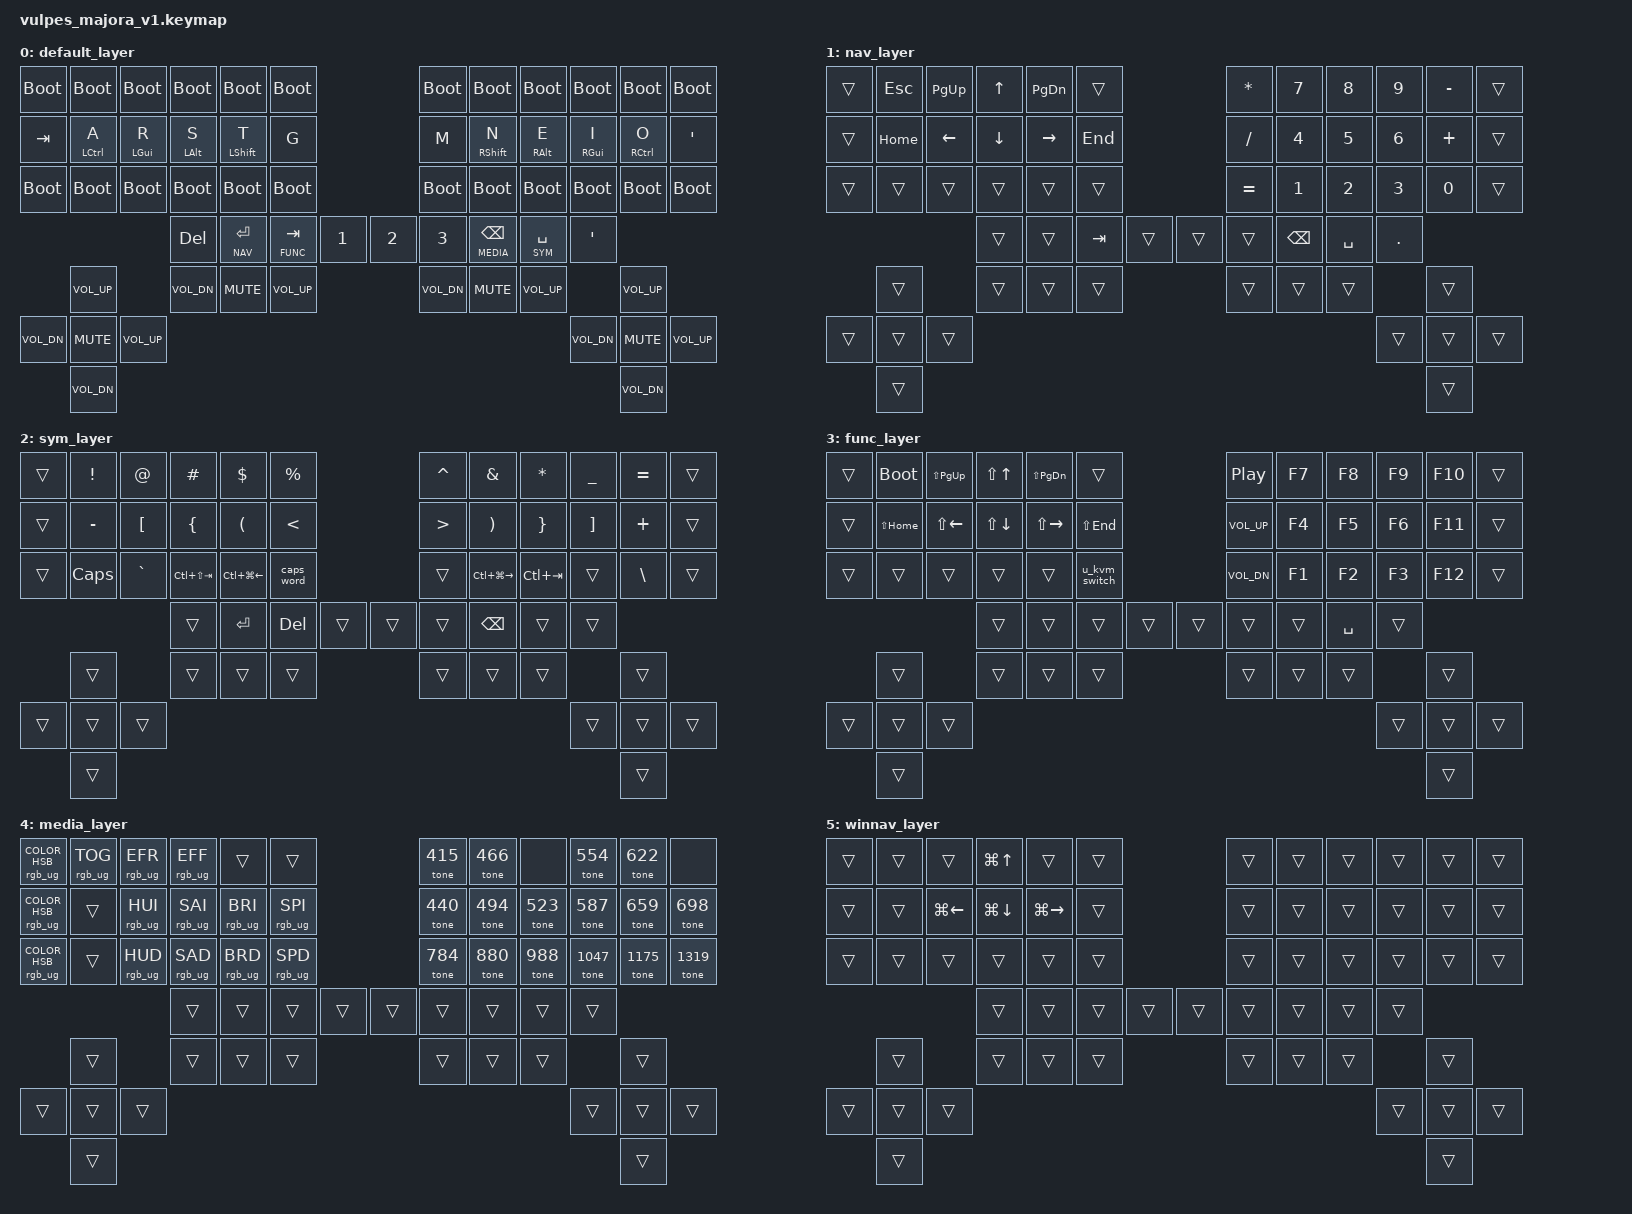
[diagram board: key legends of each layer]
/*
 * Copyright (c) 2020 The ZMK Contributors
 *
 * SPDX-License-Identifier: MIT
 */

#include <behaviors.dtsi>
#include <dt-bindings/zmk/keys.h>
#include <dt-bindings/zmk/rgb.h>
#include <dt-bindings/zmk/outputs.h>
#include <dt-bindings/zmk/rgb.h>
#include <zephyr/dt-bindings/pwm/pwm.h>
// #include <dt-bindings/zmk/mouse.h>
// #include <behaviors/mouse_keys.dtsi>

#define DEFAULT 0
#define NAV     1
#define SYM     2
#define FUNC    3
#define MEDIA   4
#define WINNAV  5

&caps_word {
    continue-list = <UNDERSCORE MINUS>;
};

/ {
    combos {
        compatible = "zmk,combos";
        combo_undo {
            timeout-ms = <50>;
            key-positions = <25 26>;
            bindings = <&kp LC(Z)>;
        };
    };
};

/ {
    macros {
        u_kvm_switch: u_kvm_switch {
            compatible = "zmk,behavior-macro";
            #binding-cells = <0>;
            bindings
                = <&macro_press &kp TAB>
                , <&macro_wait_time 200>
                , <&macro_tap &kp RIGHT>
                , <&macro_wait_time 200>
                , <&macro_release &kp TAB>
                ;
        };
    };
};

/ {
    behaviors {
        hm: homerow_mods {
            compatible = "zmk,behavior-hold-tap";
            #binding-cells = <2>;
            tapping-term-ms = <200>;
            flavor = "tap-preferred";
            bindings = <&kp>, <&kp>;
        };
        hs: homerow_shift {
            compatible = "zmk,behavior-hold-tap";
            #binding-cells = <2>;
            tapping-term-ms = <175>;
            flavor = "balanced";
            bindings = <&kp>, <&kp>;
        };
        // for audio buzzer
        tone: tone {
            compatible = "chiptuner,behavior-tone";
            #binding-cells = <1>;
            pwms = <&pwm 2 PWM_USEC(20) PWM_POLARITY_NORMAL>;
        };
    };

    keymap {
        compatible = "zmk,keymap";

        default_layer {
            // TODO - Replace middle keys with mouse keys when pmw3360 is supported, see vik_pmw3360_per56 shield in zmk-fingerpunch-vik repository
            bindings = <
    &bootloader       &bootloader        &bootloader        &bootloader       &bootloader        &bootloader                                                       &bootloader       &bootloader        &bootloader        &bootloader       &bootloader        &bootloader
    &kp TAB       &hm LCTL A   &hm LGUI R   &hm LALT S    &hs LSHIFT T   &kp G                                                       &kp M           &hs RSHIFT N   &hm RALT E    &hm RGUI I    &hm RCTL O  &kp SQT
    &bootloader       &bootloader        &bootloader        &bootloader       &bootloader        &bootloader                                                       &bootloader       &bootloader        &bootloader        &bootloader       &bootloader        &bootloader
                                            &kp DEL       &lt NAV RET    &lt FUNC TAB      &kp N1       &kp N2        &kp N3         &lt MEDIA BSPC  &lt SYM SPACE  &kp SQT
                  &kp C_VOL_UP              &kp C_VOL_DN  &kp C_MUTE     &kp C_VOL_UP                                                &kp C_VOL_DN    &kp C_MUTE     &kp C_VOL_UP                &kp C_VOL_UP
    &kp C_VOL_DN  &kp C_MUTE   &kp C_VOL_UP                                                                                                                                       &kp C_VOL_DN  &kp C_MUTE   &kp C_VOL_UP
                  &kp C_VOL_DN                                                                                                                                                                  &kp C_VOL_DN
            >;
        };

        nav_layer {
            bindings = <
    &trans     &kp ESC      &kp PG_UP    &kp UP      &kp PG_DN     &trans                                      &kp ASTRK     &kp N7       &kp N8        &kp N9      &kp MINUS   &trans
    &trans     &kp HOME     &kp LEFT     &kp DOWN    &kp RIGHT     &kp END                                     &kp FSLH      &kp N4       &kp N5        &kp N6      &kp PLUS    &trans
    &trans     &trans       &trans       &trans      &trans        &trans                                      &kp EQUAL     &kp N1       &kp N2        &kp N3      &kp N0      &trans
                                         &trans      &trans        &kp TAB    &trans     &trans    &trans      &kp BSPC      &kp SPACE    &kp DOT
               &trans                    &trans      &trans        &trans                                      &trans        &trans       &trans                    &trans
    &trans     &trans       &trans                                                                                                                      &trans      &trans      &trans
               &trans                                                                                                                                               &trans
            >;
        };

        sym_layer {
            bindings = <
    &trans     &kp EXCL     &kp AT       &kp HASH        &kp DLLR         &kp PRCNT                                   &kp CARET     &kp AMPS          &kp ASTRK     &kp UNDER   &kp EQUAL   &trans
    &trans     &kp MINUS    &kp LBKT     &kp LBRC        &kp LPAR         &kp LT                                      &kp GT        &kp RPAR          &kp RBRC      &kp RBKT    &kp PLUS    &trans
    &trans     &kp CAPS     &kp GRAVE    &kp LC(LS(TAB)) &kp LC(LG(LEFT)) &caps_word                                  &trans        &kp LC(LG(RIGHT)) &kp LC(TAB)   &trans      &kp BSLH    &trans
                                         &trans          &kp RET          &kp DEL    &trans     &trans    &trans      &kp BSPC      &trans            &trans
               &trans                    &trans          &trans           &trans                                      &trans        &trans            &trans                    &trans
    &trans     &trans       &trans                                                                                                                                  &trans      &trans      &trans
               &trans                                                                                                                                                           &trans

            >;
        };

        func_layer {
            bindings = <
    &trans     &bootloader  &kp LS(PG_UP) &kp LS(UP)   &kp LS(PG_DN) &trans                                      &kp C_PLAY_PAUSE &kp F7       &kp F8        &kp F9      &kp F10     &trans
    &trans     &kp LS(HOME) &kp LS(LEFT)  &kp LS(DOWN) &kp LS(RIGHT) &kp LS(END)                                 &kp K_VOL_UP     &kp F4       &kp F5        &kp F6      &kp F11     &trans
    &trans     &trans       &trans        &trans       &trans        &u_kvm_switch                               &kp K_VOL_DN     &kp F1       &kp F2        &kp F3      &kp F12     &trans
                                          &trans       &trans        &trans     &trans     &trans    &trans      &trans           &kp SPACE    &trans
               &trans                     &trans       &trans        &trans                                      &trans           &trans       &trans                    &trans
    &trans     &trans       &trans                                                                                                                           &trans      &trans      &trans
               &trans                                                                                                                                                    &trans
            >;
        };

        media_layer {
            bindings = <
    &rgb_ug RGB_COLOR_HSB(0,0,100)         &rgb_ug RGB_TOG  &rgb_ug RGB_EFR  &rgb_ug RGB_EFF &trans            &trans                                              &tone 415        &tone 466        &none           &tone 554      &tone 622       &none
    &rgb_ug RGB_COLOR_HSB(224,100,100)     &trans           &rgb_ug RGB_HUI  &rgb_ug RGB_SAI &rgb_ug RGB_BRI   &rgb_ug RGB_SPI                                     &tone 440        &tone 494        &tone 523       &tone 587      &tone 659       &tone 698
    &rgb_ug RGB_COLOR_HSB(278,100,100)     &trans           &rgb_ug RGB_HUD  &rgb_ug RGB_SAD &rgb_ug RGB_BRD   &rgb_ug RGB_SPD                                     &tone 784        &tone 880        &tone 988       &tone 1047     &tone 1175      &tone 1319
                                                            &trans           &trans                            &trans          &trans     &trans    &trans         &trans           &trans           &trans
               &trans                                       &trans           &trans                            &trans                                              &trans           &trans           &trans                         &trans
    &trans     &trans       &trans                                                                                                                                                                                   &trans         &trans          &trans
               &trans                                                                                                                                                                                                               &trans
            >;
        };

        winnav_layer {
            bindings = <          
    &trans     &trans       &trans       &kp LG(UP)   &trans        &trans                                                &trans      &trans      &trans      &trans      &trans      &trans
    &trans     &trans       &kp LG(LEFT) &kp LG(DOWN) &kp LG(RIGHT) &trans                                                &trans      &trans      &trans      &trans      &trans      &trans
    &trans     &trans       &trans       &trans       &trans        &trans                                                &trans      &trans      &trans      &trans      &trans      &trans
                                         &trans       &trans        &trans          &trans     &trans    &trans           &trans      &trans      &trans
               &trans                    &trans       &trans        &trans                                                &trans      &trans      &trans                  &trans
    &trans     &trans       &trans                                                                                                                            &trans      &trans      &trans
               &trans                                                                                                                                                     &trans
            >;
        };
    };
};
